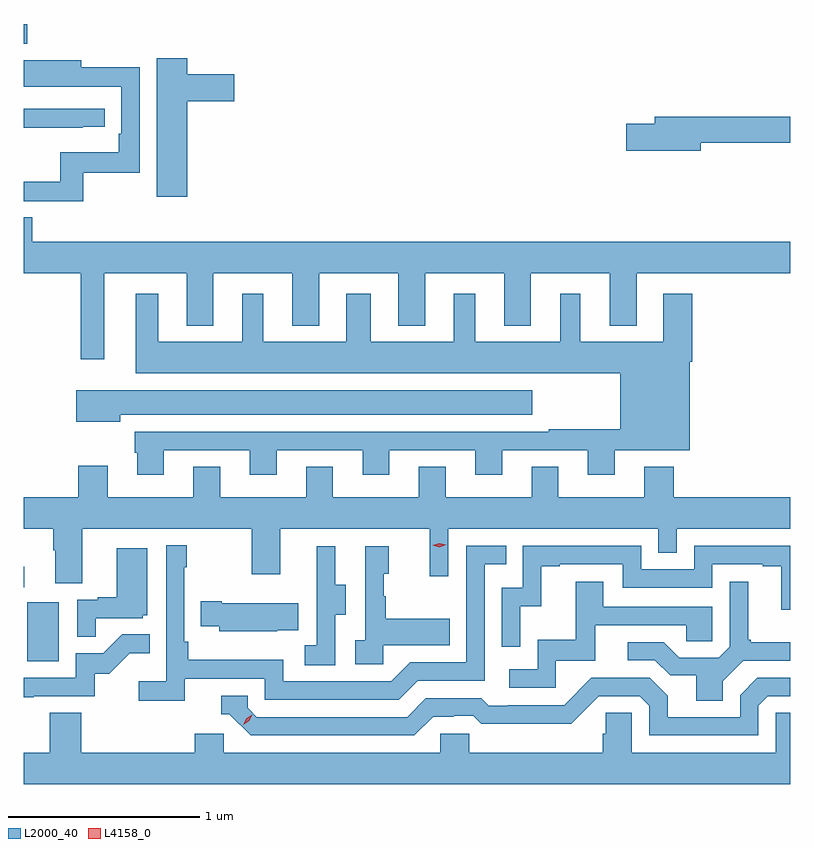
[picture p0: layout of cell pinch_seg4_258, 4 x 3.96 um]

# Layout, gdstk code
import gdstk
lib = gdstk.Library(unit=1e-6, precision=1e-09)
def R(c, l, rs):  # rectangles x0, y0, x1, y1
    for r in rs: c.add(gdstk.rectangle(r[:2], r[2:], *l))
def P(c, l, *ps):  # polygons
    for p in ps: c.add(gdstk.Polygon(p, *l))
L2000_40 = (2000, 40)
L4158_0 = (4158, 0)

pinch_seg4_258 = lib.new_cell('pinch_seg4_258')
R(pinch_seg4_258, L2000_40, [(944.762,824.1,944.926,824.407), (944.743,824.487,944.746,824.593), (944.743,827.321,944.762,827.424)])
P(pinch_seg4_258, L2000_40, [(945.598,827.021),(945.841,827.021),(945.841,827.163),(945.598,827.163),(945.598,827.245),(945.437,827.245),(945.437,826.524),(945.598,826.524)],
  [(945.055,826.647),(945.348,826.647),(945.348,827.198),(945.043,827.198),(945.043,827.236),(944.743,827.236),(944.743,827.096),(944.939,827.096),(944.939,827.097),(945.252,827.097),(945.252,826.852),(945.239,826.852),(945.239,826.756),(944.934,826.756),(944.934,826.601),(944.743,826.601),(944.743,826.5),(945.055,826.5)],
  [(945.053,826.887),(945.166,826.887),(945.166,826.983),(944.743,826.983),(944.743,826.882),(945.053,826.882)],
  [(948.274,826.804),(948.743,826.804),(948.743,826.94),(948.035,826.94),(948.035,826.904),(947.886,826.904),(947.886,826.762),(948.274,826.762)],
  [(945.163,826.124),(945.593,826.124),(945.593,825.851),(945.733,825.851),(945.733,826.124),(946.145,826.124),(946.145,825.851),(946.285,825.851),(946.285,826.124),(946.697,826.124),(946.697,825.851),(946.837,825.851),(946.837,826.124),(947.249,826.124),(947.249,825.851),(947.389,825.851),(947.389,826.124),(947.801,826.124),(947.801,825.851),(947.941,825.851),(947.941,826.124),(948.743,826.124),(948.743,826.288),(944.789,826.288),(944.789,826.415),(944.743,826.415),(944.743,826.124),(945.042,826.124),(945.042,825.675),(945.163,825.675)],
  [(945.475,825.201),(945.923,825.201),(945.923,825.072),(946.063,825.072),(946.063,825.201),(946.511,825.201),(946.511,825.072),(946.651,825.072),(946.651,825.201),(947.099,825.201),(947.099,825.072),(947.239,825.072),(947.239,825.201),(947.687,825.201),(947.687,825.072),(947.827,825.072),(947.827,825.2),(948.217,825.2),(948.217,825.662),(948.23,825.662),(948.23,826.018),(948.08,826.018),(948.08,825.766),(947.647,825.766),(947.647,826.018),(947.543,826.018),(947.543,825.766),(947.098,825.766),(947.098,826.018),(946.988,826.018),(946.988,825.766),(946.555,825.766),(946.555,826.018),(946.427,826.018),(946.427,825.766),(945.994,825.766),(945.994,826.018),(945.884,826.018),(945.884,825.766),(945.445,825.766),(945.445,826.018),(945.329,826.018),(945.329,825.602),(947.855,825.602),(947.855,825.31),(947.482,825.31),(947.482,825.297),(945.323,825.297),(945.323,825.189),(945.335,825.189),(945.335,825.072),(945.475,825.072)],
  [(945.247,825.386),(947.395,825.386),(947.395,825.514),(945.018,825.514),(945.018,825.35),(945.247,825.35)],
  [(945.934,824.553),(946.081,824.553),(946.081,824.792),(946.862,824.792),(946.862,824.544),(946.959,824.544),(946.959,824.792),(948.054,824.792),(948.054,824.665),(948.15,824.665),(948.15,824.792),(948.743,824.792),(948.743,824.956),(948.134,824.956),(948.134,825.115),(947.981,825.115),(947.981,824.956),(947.533,824.956),(947.533,825.116),(947.393,825.116),(947.393,824.956),(946.945,824.956),(946.945,825.116),(946.805,825.116),(946.805,824.956),(946.357,824.956),(946.357,825.116),(946.217,825.116),(946.217,824.956),(945.769,824.956),(945.769,825.116),(945.629,825.116),(945.629,824.956),(945.181,824.956),(945.181,825.121),(945.029,825.121),(945.029,824.956),(944.743,824.956),(944.743,824.792),(944.897,824.792),(944.897,824.68),(944.909,824.68),(944.909,824.506),(945.049,824.506),(945.049,824.792),(945.934,824.792)],
  [(945.584,824.01),(946.002,824.01),(946.002,823.899),(946.699,823.899),(946.798,823.998),(947.148,823.998),(947.148,824.607),(947.261,824.607),(947.261,824.703),(947.052,824.703),(947.052,824.094),(946.761,824.094),(946.662,823.995),(946.098,823.995),(946.098,824.107),(945.602,824.107),(945.602,824.203),(945.582,824.203),(945.582,824.591),(945.595,824.591),(945.595,824.704),(945.486,824.704),(945.486,823.996),(945.345,823.996),(945.345,823.894),(945.584,823.894)],
  [(947.334,824.387),(947.444,824.387),(947.444,824.595),(947.539,824.595),(947.539,824.607),(947.868,824.607),(947.868,824.484),(948.336,824.484),(948.336,824.607),(948.599,824.607),(948.599,824.595),(948.695,824.595),(948.695,824.369),(948.743,824.369),(948.743,824.703),(948.24,824.703),(948.24,824.58),(947.964,824.58),(947.964,824.703),(947.346,824.703),(947.346,824.484),(947.238,824.484),(947.238,824.175),(947.334,824.175)],
  [(946.368,824.344),(946.423,824.344),(946.423,824.499),(946.369,824.499),(946.369,824.701),(946.271,824.701),(946.271,824.487),(946.272,824.487),(946.272,824.183),(946.209,824.183),(946.209,824.08),(946.368,824.08)],
  [(946.62,824.183),(946.967,824.183),(946.967,824.323),(946.633,824.323),(946.633,824.438),(946.623,824.438),(946.623,824.556),(946.648,824.556),(946.648,824.701),(946.524,824.701),(946.524,824.21),(946.473,824.21),(946.473,824.085),(946.62,824.085)],
  [(945.119,824.325),(945.366,824.325),(945.366,824.34),(945.388,824.34),(945.388,824.689),(945.23,824.689),(945.23,824.434),(945.131,824.434),(945.131,824.421),(945.024,824.421),(945.024,824.227),(945.119,824.227)],
  [(947.52,824.103),(947.725,824.103),(947.725,824.289),(948.199,824.289),(948.199,824.205),(948.336,824.205),(948.336,824.385),(947.767,824.385),(947.767,824.515),(947.623,824.515),(947.623,824.212),(947.424,824.212),(947.424,824.058),(947.277,824.058),(947.277,823.962),(947.52,823.962)],
  [(948.391,823.996),(948.498,824.103),(948.743,824.103),(948.743,824.2),(948.535,824.2),(948.535,824.212),(948.523,824.212),(948.523,824.515),(948.426,824.515),(948.426,824.175),(948.369,824.118),(948.163,824.118),(948.082,824.199),(947.895,824.199),(947.895,824.106),(948.036,824.106),(948.116,824.026),(948.251,824.026),(948.251,823.894),(948.391,823.894)],
  [(946.067,824.261),(946.175,824.261),(946.175,824.404),(945.778,824.404),(945.778,824.412),(945.667,824.412),(945.667,824.282),(945.765,824.282),(945.765,824.258),(946.067,824.258)],
  [(944.795,823.917),(945.114,823.917),(945.114,824.034),(945.19,824.034),(945.297,824.141),(945.401,824.141),(945.401,824.24),(945.257,824.24),(945.159,824.142),(945.015,824.142),(945.015,824.013),(944.743,824.013),(944.743,823.912),(944.795,823.912)],
  [(946.879,823.812),(946.986,823.812),(946.986,823.815),(947.089,823.815),(947.131,823.773),(947.364,823.773),(947.364,823.775),(947.6,823.775),(947.742,823.917),(947.958,823.917),(948.006,823.869),(948.006,823.713),(948.576,823.713),(948.576,823.869),(948.624,823.917),(948.743,823.917),(948.743,824.013),(948.57,824.013),(948.48,823.923),(948.48,823.809),(948.103,823.809),(948.103,823.919),(948.009,824.013),(947.703,824.013),(947.562,823.872),(947.269,823.872),(947.269,823.869),(947.17,823.869),(947.131,823.908),(946.842,823.908),(946.743,823.809),(945.96,823.809),(945.912,823.857),(945.912,823.92),(945.773,823.92),(945.773,823.824),(945.816,823.824),(945.927,823.713),(946.78,823.713)],
  [(948.743,823.832),(948.666,823.832),(948.666,823.624),(947.916,823.624),(947.916,823.832),(947.779,823.832),(947.779,823.722),(947.765,823.722),(947.765,823.624),(947.067,823.624),(947.067,823.722),(946.917,823.722),(946.917,823.624),(945.786,823.624),(945.786,823.722),(945.635,823.722),(945.635,823.624),(945.044,823.624),(945.044,823.832),(944.879,823.832),(944.879,823.624),(944.743,823.624),(944.743,823.46),(948.743,823.46)])
P(pinch_seg4_258, L4158_0, [(946.912,824.696),(946.877,824.705),(946.876,824.705),(946.877,824.706),(946.912,824.716),(946.947,824.707),(946.947,824.707),(946.947,824.707)],
  [(945.89,823.77),(945.89,823.77),(945.906,823.803),(945.937,823.822),(945.937,823.822),(945.937,823.822),(945.921,823.789),(945.89,823.77)])

lib.write_gds('pinch_seg4_258.gds')
